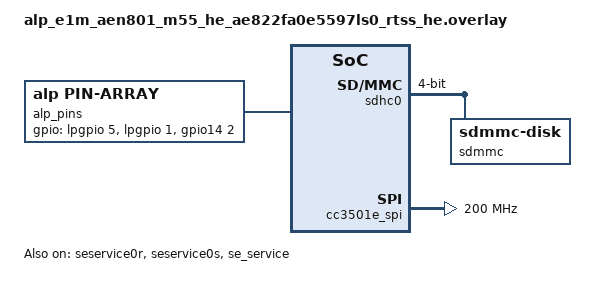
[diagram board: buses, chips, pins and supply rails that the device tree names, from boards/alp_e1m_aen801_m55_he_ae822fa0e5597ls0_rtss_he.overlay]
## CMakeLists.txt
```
# SPDX-License-Identifier: Apache-2.0
cmake_minimum_required(VERSION 3.20)
find_package(Zephyr REQUIRED HINTS $ENV{ZEPHYR_BASE})
project(aen_sdcard_readout LANGUAGES C)
target_sources(app PRIVATE src/main.c)
# The CC3501E bridge bring-up + the SDIO mux ENABLE it drives: on the EVK the
# microSD sits behind a 74LVC157 mux whose /E is CC3501E-side, so the card is
# electrically disconnected unless this app brings the bridge up itself.
# cc3501e_bridge.{c,h} is the SoM bring-up TEMPLATE every AEN application
# copies verbatim (see its header) -- byte-identical to the copy in
# examples/aen/aen-evk-demo, the silicon-proven origin of this one; copied
# rather than reached across into, because an example that reads its sources
# out of a sibling example is not a copyable template.
target_sources(app PRIVATE src/cc3501e_bridge.c)
# The one proxied pad this app drives: E1M IO20 -> raw CC3501E GPIO_26, the
# SDIO mux ENABLE route. Strong override of the WEAK cc3501e_gpio_routes[] in
# src/backends/gpio/cc3501e_proxy_routes_weak.c. Built unconditionally; only
# consulted when CONFIG_ALP_SDK_GPIO_CC3501E_PROXY is set (prj.conf).
target_sources(app PRIVATE src/cc3501e_gpio_routes.c)
```

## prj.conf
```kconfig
# SPDX-License-Identifier: Apache-2.0
#
# Bench RAM-run config for the E1M-AEN801 (M55-HE).

CONFIG_ALP_SDK=y

# SD Host Controller + the vendored DWC SDHC driver (CONFIG_SDHC_DWC is default y
# once the sdhc node is enabled) + the SDMMC card stack + the disk-access API.
CONFIG_SDHC=y
CONFIG_DISK_ACCESS=y
CONFIG_DISK_DRIVER_SDMMC=y
CONFIG_SDMMC_STACK=y
CONFIG_GPIO=y

# --- CC3501E Wi-Fi/BLE coprocessor bridge --------------------------------
# The EVK microSD sits behind a 74LVC157 mux whose ENABLE (E1M IO20) is
# CC3501E-side, so the card is electrically disconnected until this app
# brings the inter-chip bridge up and drives the mux -- see main()'s
# comment. Host-side bridge driver (chips/cc3501e/*.c) plus the two
# peripheral classes it rides on: SPI for the inter-chip link (bus 1 ->
# the alp-spi1 alias the board overlay adds) and GPIO for WIFI_EN /
# nRESET / READY. Kconfig already enforces `depends on SPI && GPIO`; both
# are set explicitly here because this app has no board.yaml
# `peripherals:` block to generate them -- it is a standalone Zephyr app
# (see CMakeLists.txt), mirroring examples/aen/aen-evk-demo's prj.conf.
CONFIG_SPI=y
CONFIG_ALP_SDK_CHIP_CC3501E=y

# The mux ENABLE (E1M IO20) reaches CC3501E GPIO_26, so it is only
# drivable over the bridge's GPIO proxy -- without this, alp_gpio_open()
# on IO20 would silently DELEGATE to the Alif's own GPIO driver and drive
# a pad that is not connected to the mux: no error, and a card that never
# enumerates. src/cc3501e_gpio_routes.c carries the one-pad route table
# this needs.
CONFIG_ALP_SDK_GPIO_CC3501E_PROXY=y

CONFIG_MAIN_STACK_SIZE=4096
CONFIG_HEAP_MEM_POOL_SIZE=16384

# FIFO/descriptor data path -- keep coherent on this M55 bench.
CONFIG_DCACHE=n

# Console: Alp UART console -- E1M edge UART0 (Alif UART5, P3_4/P3_5, 115200
# 8N1, NS16550), the E1M-AEN801 carrier console. The board _defconfig already
# selects it; we set it explicitly here so the example is self-describing.
CONFIG_SERIAL=y
CONFIG_CONSOLE=y
CONFIG_UART_CONSOLE=y
CONFIG_UART_INTERRUPT_DRIVEN=y
# Serial-less bench? Comment the four lines above and uncomment these to read
# 'ram_console_buf' over SWD instead:
# CONFIG_RAM_CONSOLE=y
# CONFIG_RAM_CONSOLE_BUFFER_SIZE=2048
# CONFIG_UART_CONSOLE=n
CONFIG_PRINTK=y
```

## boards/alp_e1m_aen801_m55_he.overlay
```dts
/*
 * Copyright (c) 2026 Alp Lab AB
 * SPDX-License-Identifier: Apache-2.0
 *
 * SD Host Controller overlay for the E1M-AEN801 (E8, M55-HE).
 *
 * sdhc@48102000 (compatible snps,dwc-sdhc, IRQ 102/103) is transcribed from the
 * Apache-2.0 zephyr_alif fork -- the alp-sdk E8 SoC dtsi doesn't carry it, so it
 * is created here.  Driver: zephyr/drivers/sdhc/sdhc_dwc.c (vendored Tier-2,
 * CONFIG_SDHC_DWC) + the Zephyr SDMMC disk (zephyr,sdmmc-disk).
 *
 * PADS -- TBD, see [[project_pending_hw_configs]]: this overlay wires the SD "D"
 * pad route (CLK=P4_1, CMD=P4_2, D0..D3=P6_0..P6_3) from the upstream
 * alif-ensemble-pinctrl.h as a documented default; confirm the E1M-AEN801 SoM/EVK
 * SD routing against the schematic.  The bidirectional CMD + D0..D3 lines set the
 * pad read-enable (REN) -- the alif,pinctrl binding DOES carry `read-enable`, so
 * the SoC can sample the card's CMD/DATA response lines (CLK is output-only and
 * omits it).
 *
 * CARD REACHABILITY -- the EVK microSD is behind a 74LVC157 SDIO mux whose
 * EN (IO20) + SEL (IO21) are BOTH on the CC3501E side (driven over the SPI
 * bridge), so no card is reachable until that bridge routes the mux.  cd-gpios is
 * omitted (the driver falls back to controller card-detect).
 */
#include <zephyr/dt-bindings/pinctrl/alif-ensemble-pinctrl.h>

/ {
	chosen {
		zephyr,flash = &itcm; /* bench RAM/SES-load; path-ref form */
		/delete-property/ zephyr,code-partition;
	};
};

&pinctrl {
	pinctrl_sdmmc: pinctrl_sdmmc {
		/* CLK is push-pull output only -- no pad read-enable needed. */
		group0 {
			pinmux = <PIN_P4_1__SD_CLK_D>;
			drive-strength = <8>;
		};
		/* CMD + D0..D3 are bidirectional: the pad receiver (read-enable /
		 * REN bit) MUST be on so the SoC can sample the card's CMD/DATA
		 * response lines, otherwise enumeration can never complete. */
		group1 {
			pinmux = <PIN_P4_2__SD_CMD_D>,
				 <PIN_P6_0__SD_D0_D>, <PIN_P6_1__SD_D1_D>,
				 <PIN_P6_2__SD_D2_D>, <PIN_P6_3__SD_D3_D>;
			drive-strength = <8>;
			read-enable = <1>;
		};
	};
};

&{/soc} {
	sdhc0: sdhc@48102000 {
		compatible = "snps,dwc-sdhc";
		reg = <0x48102000 0xF70>;
		interrupts = <102 3>, <103 3>;
		interrupt-names = "sdmmc", "sdmmc_wakeup";
		max-bus-freq = <50000000>;
		min-bus-freq = <400000>;
		power-delay-ms = <500>;
		bus-width = <4>;
		pinctrl-0 = <&pinctrl_sdmmc>;
		pinctrl-names = "default";
		status = "okay";

		sdmmc {
			compatible = "zephyr,sdmmc-disk";
			disk-name = "SD";
			status = "okay";
		};
	};
};
```

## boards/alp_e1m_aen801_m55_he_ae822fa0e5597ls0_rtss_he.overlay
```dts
/*
 * Copyright (c) 2026 Alp Lab AB
 * SPDX-License-Identifier: Apache-2.0
 *
 * SD Host Controller overlay for the E1M-AEN801 (E8, M55-HE).
 *
 * sdhc@48102000 (compatible snps,dwc-sdhc, IRQ 102/103) is transcribed from the
 * Apache-2.0 zephyr_alif fork -- the alp-sdk E8 SoC dtsi doesn't carry it, so it
 * is created here.  Driver: zephyr/drivers/sdhc/sdhc_dwc.c (vendored Tier-2,
 * CONFIG_SDHC_DWC) + the Zephyr SDMMC disk (zephyr,sdmmc-disk).
 *
 * PADS -- this overlay wires the SD "B" pad route (CLK=P14_1, CMD=P14_0,
 * D0..D3=P13_0..P13_3), matching how the E1M-AEN module is actually wired.
 * A previous revision wired the "D" route (CLK=P4_1, CMD=P4_2, D0..D3=P6_0..P6_3)
 * copied from the upstream alif-ensemble-pinctrl.h as a placeholder default that
 * was never confirmed against the schematic, as this file's own comment used to
 * admit. It was wrong on every count: P4_2 is not an SD pin at all -- it is
 * QEC3_Y_A, a rotary encoder input on the EVK, with no SD pull-up -- and D0..D3
 * on P6_0..P6_3 land on the module's PDM_D0/PDM_C0 pads and on-module
 * OSPI0_D2/OSPI0_D3 (metadata/e1m_modules/aen/alif-ospi.tsv:4-5), which the
 * resident BL32 owns; driving SD there risked bus contention with boot flash.
 * The B route is corroborated by five independent metadata sources
 * (metadata/pinmux/aen.yaml:49-64, metadata/e1m_modules/aen/from-alif.tsv:36-48
 * -- the vendor's own mapping, metadata/e1m_modules/aen/inter-chip.tsv:41-46,
 * docs/cc3501e-bridge.md:74) plus the EVK netlist, which closes the chain at
 * U39 pin 12 carrying E1M_CMD to E2 AH11.  P14_0, P14_1 and P13_0..P13_3 also
 * run through unpopulated zero-ohm links to the CC3501E SDIO
 * (docs/cc3501e-bridge.md:71-75), with no conflict observed on any board built
 * to date.  CMD, D0..D3 AND CLK all enable the pad input buffer via the
 * pincfg-node.yaml boolean `input-enable` property (the pinned Zephyr v4.4
 * alif,pinctrl binding's property-allowlist carries `input-enable`, not
 * `read-enable` -- an earlier revision of this overlay used the wrong spelling
 * and failed devicetree validation).  CLK is push-pull output from the SoC's
 * own perspective, but this controller's receive path is NOT: the DWC_mshc
 * command/data state machines run on a card clock looped back FROM THE PAD,
 * not from the internal output before it reaches the pin, so leaving CLK's
 * input buffer off silently kills that loopback -- the command circuit never
 * reaches idle even though CMD/DATA read correctly (those are async pad
 * inputs and stay live either way). This reproduces exactly: `SW_RST_ALL`
 * completes, `INTERNAL_CLK_STABLE` asserts, `PSTATE` shows correct CMD/DAT
 * levels, but `SW_RST_CMD` never self-clears while `SW_RST_DAT` does, because
 * DAT's circuit was already idle and CMD's never started. Both Alif's DFP
 * (`demo_sd.c`, `demo_sdio.c`, `demo_sd_fatfs.c`,
 * `demo_mci_mdk_cmsisrtos2.c` -- all four SD examples set
 * `PADCTRL_READ_ENABLE` on the CLK pad) and the vendor Linux dts (pad config
 * `0x23` on SD CLK -- read-enable, Schmitt, 8 mA, the SAME byte as CMD/DATA)
 * agree. Do NOT remove this again on the "CLK is output-only" reasoning that
 * used to live here -- it describes the SoC pin, not this controller's clock
 * receive path, and removing it reproduces the earlier bug where a rotary
 * encoder pad also read wrong until PADCTRL_READ_ENABLE was set.
 *
 * CARD REACHABILITY -- the EVK microSD is behind a 74LVC157/74LV3257 SDIO
 * mux whose EN (IO20) is CC3501E-side (driven over the SPI bridge) on both
 * hardware revisions, so no card is reachable until that bridge drives EN.
 * SEL (IO21) is revision-dependent, not always CC3501E-side: on r1 it is
 * also CC3501E-proxied; on r2 it is unrouted and hardware-strapped instead
 * (metadata/e1m_modules/aen/hw-revisions.yaml).  cd-gpios is omitted (the
 * driver falls back to controller card-detect).
 *
 * SD_RST (#2035) -- P14_2 (SD_RST_B's pad) is muxed here as plain GPIO, not
 * as its SD_RST_B alternate function, and driven by main() as a bit-banged
 * reset pulse before disk_access_init() -- see the `pinctrl_sdmmc` group2
 * comment below for the three independent vendor sources that all bit-bang
 * this line rather than trust it to the controller. Until this revision the
 * line was never driven at all, which may have been holding the card in
 * reset; a card that still does not enumerate after the pulse means the
 * `SW_RST_CMD` question described above is a separate, still-open fault, not
 * this one.
 */
#include <zephyr/dt-bindings/pinctrl/alif-ensemble-pinctrl.h>

/ {
	chosen {
		zephyr,flash = &itcm; /* bench RAM/SES-load; path-ref form */
		/delete-property/ zephyr,code-partition;
	};
};

&pinctrl {
	pinctrl_sdmmc: pinctrl_sdmmc {
		/* CLK needs the pad input buffer too, despite being a push-pull
		 * SoC output: the DWC_mshc controller's command/data state
		 * machines clock off CLK LOOPED BACK FROM THE PAD, not off the
		 * pre-pad internal signal. See the file header for the full
		 * derivation and the vendor citations -- do not drop this again. */
		group0 {
			pinmux = <PIN_P14_1__SD_CLK_B>;
			drive-strength = <8>;
			input-enable;
		};
		/* CMD + D0..D3 are bidirectional: the pad input buffer
		 * (input-enable) MUST be on so the SoC can sample the card's
		 * CMD/DATA response lines, otherwise enumeration can never
		 * complete. */
		group1 {
			pinmux = <PIN_P14_0__SD_CMD_B>,
				 <PIN_P13_0__SD_D0_B>, <PIN_P13_1__SD_D1_B>,
				 <PIN_P13_2__SD_D2_B>, <PIN_P13_3__SD_D3_B>;
			drive-strength = <8>;
			input-enable;
		};
		/*
		 * P14_2 -- SD_RST, muxed as plain GPIO (function 0), NOT as the
		 * SD_RST_B alternate function (function 5) the SoC also offers on
		 * this pad. Three independent vendor sources bit-bang this line as
		 * a GPIO rather than trusting it to the controller's own alt
		 * function, and this overlay follows them rather than the
		 * alternate-function route:
		 *   - vendor Linux `arch/arm/mach-ensemble/sdhci-alif-reset.c`
		 *     (an `arch_initcall` that runs BEFORE the SDHCI driver
		 *     probes: drives its reset GPIO low, sleeps 1-2 ms, drives it
		 *     high, sleeps 2-3 ms) plus its binding
		 *     `Documentation/devicetree/bindings/mmc/
		 *     alif,sdhci-alif-reset.yaml`, which lists `reset-gpios` under
		 *     `required:`;
		 *   - Alif's own baremetal DFP: `sd_host_init()`
		 *     (`drivers/source/sd.c`) calls `sd_param.reset_cb` as the
		 *     FIRST action, and the demo's callback
		 *     (`Boards/Templates/Baremetal/demo_sd.c`) drives the pin low,
		 *     busy-waits, then drives it high.
		 * Muxing to SD_RST_B (AF5) instead would hand the pin to the SDHC
		 * controller, which is free to hold it however it likes -- neither
		 * vendor does that. main() opens this as
		 * `alp_gpio_open()`/configure/write, matching the pattern.
		 */
		group2 {
			pinmux = <PIN_P14_2__GPIO>;
		};
	};
};

&gpio14 {
	/* Owns P14_2 (SD_RST), among others. Disabled by default in the base
	 * dtsi like every other unused GPIO bank on this SoC. */
	status = "okay";
};

/*
 * SE SERVICE transport (#2035) -- the RTSS-HE <-> SE MHUv2 mailbox pair
 * (seservice0r/seservice0s) plus the se_service root node that ties them,
 * all status="disabled" by default in the SoC dtsi (zephyr/dts/alif/
 * ensemble_e8_peripherals.dtsi). main() asks the SE to enable the SD
 * controller's 100 MHz clock source (CGU CLK_ENA bit 7) before touching the
 * controller -- see sd_se_enable_clock() in src/main.c -- which needs this
 * transport up. Same three-node enable examples/aen/aen-se-service-info's
 * overlay uses; itcm/dtcm global_base (for se_service.c's own
 * local_to_global() on the request packet) is already set in the board
 * dts, so nothing extra is needed here.
 */
&seservice0r {
	status = "okay";
};

&seservice0s {
	status = "okay";
};

&se_service {
	status = "okay";
};

&{/soc} {
	sdhc0: sdhc@48102000 {
		compatible = "snps,dwc-sdhc";
		reg = <0x48102000 0xF70>;
		interrupts = <102 3>, <103 3>;
		interrupt-names = "sdmmc", "sdmmc_wakeup";
		/* 25 MHz, not the controller's 50 MHz capability, and no 1.8V UHS
		 * signaling (#2035): once CMD0 succeeds the SD subsystem would
		 * otherwise attempt CMD11 and switch to 1.8V I/O signaling through
		 * the 74LVC157 SDIO mux, which runs at 3.3V and was never designed
		 * to pass a 1.8V logic level -- vendor Linux sets the equivalent
		 * `no-1-8-v` + `max-frequency = <25000000>` for this exact block.
		 * `no-1-8-v` IS read by this driver (DT_INST_PROP_OR(n, no_1_8_v,
		 * ...) -> props->host_caps.vol_180_support = 0, sdhc_dwc.c:972),
		 * so this is a real behavioural change, not a documentation-only
		 * one. `max-bus-freq` is this Zephyr binding's equivalent of
		 * vendor Linux's `max-frequency` (there is no `max-frequency`
		 * property on snps,dwc-sdhc.yaml). Vendor Linux also sets
		 * `no-hispeed`; THIS DRIVER HAS NO EQUIVALENT DT PROPERTY --
		 * checked zephyr/drivers/sdhc/sdhc_dwc.c: high_spd_support is
		 * read straight off DWC_SDHC_CAP1_HIGH_SPEED_Msk in hardware with
		 * no DT override, so that one setting is recorded here, not
		 * applied. */
		max-bus-freq = <25000000>;
		min-bus-freq = <400000>;
		power-delay-ms = <500>;
		bus-width = <4>;
		no-1-8-v;
		pinctrl-0 = <&pinctrl_sdmmc>;
		pinctrl-names = "default";
		status = "okay";

		sdmmc {
			compatible = "zephyr,sdmmc-disk";
			disk-name = "SD";
			status = "okay";
		};
	};
};

/*
 * ============================================================================
 * The SoM-internal Alif <-> CC3501E Wi-Fi/BLE bridge -- needed to REACH the
 * card, not to read it
 * ============================================================================
 *
 * The SD pads above are necessary but not sufficient: the microSD sits behind
 * a 74LVC157 mux whose ENABLE is driven from the CC3501E side (E1M IO20 ->
 * CC3501E GPIO_26), so without this block main() would be probing a
 * controller with the card electrically disconnected. Transcribed verbatim
 * from examples/aen/aen-evk-demo's overlay (its phase 8), the silicon-proven
 * host-side bring-up; read that file for the full derivation behind every
 * value here.
 *
 * Everything below is a SoM-INTERNAL fact (metadata/e1m_modules/aen/
 * inter-chip.tsv), not an E1M edge pad, which is why it lives in an app
 * overlay rather than in the board tree -- the board layer publishes only the
 * customer-facing edge peripherals.
 *
 *     net          Alif pad       dir   CC3501E pad
 *     ----------   ------------   ---   ---------------------
 *     WIFI_EN      P15_5          out   (supply gate)
 *     E_WIFI.NRST  P15_1_FLEX     out   (reset)
 *     SPI1.SCK     P14_6          out   GPIO_27 (CC35 SPI0 slave)
 *     SPI1.MOSI    P14_5          out   GPIO_28
 *     SPI1.MISO    P14_4          in    GPIO_29
 *     SPI1.SS0     P14_7          out   CC35 SPI0 CSN
 *
 * NOT wired: READY.  Alif P2_6 (E1M pad AH7 / I2S1_SCLK) is the EVK's Arduino
 * CK_RST net on this R2 module, not CC35 GPIO_17 -- see the P2_6 comment
 * further down and chips/cc3501e/cc3501e_core.c's cc3501e_reply_gate().
 *
 * WHAT THIS OVERLAY DELIBERATELY OMITS versus aen-cc3501e-bringup's: the
 * host-side peripheral-DMA wiring (dma0 / evtrtr0 / the `dmas` property, and
 * the itcm/dtcm `global_base` windows the PL330 needs to reach TCM buffers).
 * This app issues only short control frames -- PING, GET_VERSION, GET_MAC,
 * GET_CAPABILITIES, one scan, BLE_ENABLE, then the mux GPIO write -- every one
 * of them far below CONFIG_SPI_DW_ALIF_DMA_MIN_LEN, so the DMA path would
 * never be taken even if it were wired. The `dmas` cells are optional to the
 * driver (spi_dw_alif.c gates them behind DT_INST_DMAS_HAS_NAME), so omitting
 * them costs nothing here.
 */
#include <zephyr/dt-bindings/gpio/gpio.h>

&pinctrl {
	/*
	 * SPI1 master on P14_6 (SCK) / P14_5 (MOSI) / P14_4 (MISO), plus the
	 * hardware SS0 chip-select on P14_7. SS0 is the dwc-ssi peripheral's OWN
	 * select -- not a GPIO bodge, not CS-less, not static-low: the master
	 * asserts and deasserts it per transfer, and that is exactly what frames
	 * each phase of the bridge's request/reply exchange. Do NOT add cs-gpios
	 * here; that installs a software CS and breaks the framing the firmware
	 * side is built around.
	 *
	 * input-enable on MISO because on this SoC a pad's INPUT BUFFER is a
	 * PADCTRL bit that only pinctrl sets -- without it the pad never senses
	 * what the slave drives.
	 */
	pinctrl_spi1: pinctrl_spi1 {
		group0 {
			pinmux = <PIN_P14_6__SPI1_SCLK_C>, <PIN_P14_5__SPI1_MOSI_C>,
				 <PIN_P14_7__SPI1_SS0_C>;
		};
		group1 {
			pinmux = <PIN_P14_4__SPI1_MISO_C>;
			input-enable;
		};

	};
};

/* P2_6 (E1M AH7 / I2S1_SCLK) is NOT the CC3501E READY net on the R2 module this
 * bridge targets -- it is E1M pad AH7 / I2S1_SCLK, which the E1M EVK
 * carrier repurposes as the Arduino header's CK_RST (metadata/boards/
 * e1m-evk.yaml); the real READY net lands on E1M pad G3 / IO16 instead
 * (metadata/e1m_modules/aen/from-cc3501e.tsv). This app therefore does not
 * mux or input-enable P2_6, and does not wire fw->ready_pin -- see
 * src/cc3501e_bridge.c and chips/cc3501e/cc3501e_core.c's cc3501e_reply_gate()
 * comment. A board (or a hand-reworked r1 unit) that genuinely wires GPIO17
 * to P2_6 can opt back in: add a pinctrl group muxing PIN_P2_6__GPIO with
 * input-enable (applied inside this state's single init pass, not a
 * standalone runtime one -- a second pinctrl pass after SPI1 is up killed
 * the bridge on silicon), enable &gpio2, add an alp_pins entry for it, and
 * set fw->ready_pin in cc3501e_bridge_bringup(). */

/*
 * DWC_ssi SPI1 (AHB) -- the on-SoM CC3501E inter-chip link. Deliberately not
 * in ensemble_e8_peripherals.dtsi (which declares only the customer-facing
 * edge SPI0), so the consuming app declares it. reg 0x48104000 = the SPI1 base
 * (+0x1000 per instance from spi0's 0x48103000).
 *
 * BENCH-TBD on interrupts: <138 3> follows the consecutive pattern from spi0's
 * IRQ 137 -- it is INFERRED, not read out of a document. "Confirm" therefore
 * means: check SPI1_IRQ against the AE822 TRM (or the alifsemi/zephyr_alif
 * fork's e1.dtsi) before relying on the interrupt-driven path on silicon.
 *
 * clock-frequency is REQUIRED, not decorative: without it spi_dw_alif's
 * configure takes the clock-control path, which fails -EINVAL for the gateless
 * dummy ALIF_SPI_CLK, and every transceive then returns ALP_ERR_INVAL at zero
 * SCLK. 200 MHz is the real SSI functional clock (E8 HWRM); BAUDR =
 * clock-frequency / freq_hz, and cc3501e_bridge.h asks for 25 MHz = /8.
 *
 * rx-delay: NOT what clocks the link -- src/cc3501e_bridge.c pokes
 * 0x48104000+0xf0 with CC3501E_BRIDGE_RX_SAMPLE_DLY right after
 * alp_spi_open() returns, which overwrites whatever this property set. See
 * cc3501e_bridge.h and examples/aen/aen-evk-demo's overlay for the full
 * derivation (silicon-measured on E1M-AEN803 serial 2026W36-0002 at 25 MHz).
 */
&clockctrl {
	status = "okay";
};

&soc {
	cc3501e_spi: spi@48104000 {
		compatible = "alif,dwc-ssi-spi";
		#address-cells = <1>;
		#size-cells = <0>;
		reg = <0x48104000 0x1000>;
		interrupts = <138 3>;          /* BENCH-TBD: confirm SPI1 IRQ */
		clocks = <&clockctrl ALIF_SPI_CLK>;
		clock-frequency = <200000000>;
		dwc-ssi;
		fifo-depth = <16>;
		rx-delay = <2>;
		pinctrl-0 = <&pinctrl_spi1>;
		pinctrl-names = "default";
		status = "okay";
	};
};

/*
 * The LP-GPIO island carries WIFI_EN (P15_5) and E_WIFI.NRST (P15_1_FLEX). No
 * pinctrl group is needed for their mux: P15_x function 0 -- the reset default
 * -- already IS LPGPIO. Turning the pads' OUTPUT DRIVERS on is a separate
 * matter and not a devicetree fact at all; see the raw PADCTRL write in
 * src/cc3501e_bridge.c and the comment above it.
 */
&lpgpio {
	status = "okay";
};

/ {
	aliases {
		/* bus_id 1 in alp_spi_open() -> this controller. */
		alp-spi1 = &cc3501e_spi;
	};

	/*
	 * Compact 3-entry control array: the 2 SoM-internal CC3501E control
	 * nets, in the order cc3501e_bridge.h's CC3501E_BRIDGE_PIN_* indices
	 * expect, plus SD_RST (index [2], native Alif GPIO -- see SD_RST_PIN_ID
	 * in src/main.c). No READY entry -- see the P2_6 comment further up
	 * (this pad is not the CC3501E READY net). None of these are E1M edge
	 * pads, so this app does not use the 52-slot positional E1M map; a
	 * production board file appends SoM-internal control nets after the E1M
	 * pad slots.
	 *
	 * There must be exactly ONE "alp,pin-array" node in the tree. A second
	 * one broke pin resolution outright on the bench (2026-08-26): the
	 * bridge failed as if WIFI_EN were absent, which reads like a hardware
	 * fault and is not one.
	 */
	alp_pins: alp-pins {
		compatible = "alp,pin-array";
		gpios = <&lpgpio 5 GPIO_ACTIVE_HIGH>, /* [0] WIFI_EN     (P15_5)      */
			<&lpgpio 1 GPIO_ACTIVE_HIGH>, /* [1] E_WIFI.NRST (P15_1_FLEX) */
			<&gpio14 2 GPIO_ACTIVE_HIGH>; /* [2] SD_RST      (P14_2, native Alif GPIO, bit-banged) */
	};
};
```

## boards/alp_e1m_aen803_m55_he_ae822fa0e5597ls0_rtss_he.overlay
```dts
/*
 * Copyright (c) 2026 Alp Lab AB
 * SPDX-License-Identifier: Apache-2.0
 *
 * SD Host Controller overlay for the E1M-AEN803 (E8, M55-HE).
 *
 * sdhc@48102000 (compatible snps,dwc-sdhc, IRQ 102/103) is transcribed from the
 * Apache-2.0 zephyr_alif fork -- the alp-sdk E8 SoC dtsi doesn't carry it, so it
 * is created here.  Driver: zephyr/drivers/sdhc/sdhc_dwc.c (vendored Tier-2,
 * CONFIG_SDHC_DWC) + the Zephyr SDMMC disk (zephyr,sdmmc-disk).
 *
 * PADS -- this overlay wires the SD "B" pad route (CLK=P14_1, CMD=P14_0,
 * D0..D3=P13_0..P13_3), matching how the E1M-AEN module is actually wired.
 * A previous revision wired the "D" route (CLK=P4_1, CMD=P4_2, D0..D3=P6_0..P6_3)
 * copied from the upstream alif-ensemble-pinctrl.h as a placeholder default that
 * was never confirmed against the schematic, as this file's own comment used to
 * admit. It was wrong on every count: P4_2 is not an SD pin at all -- it is
 * QEC3_Y_A, a rotary encoder input on the EVK, with no SD pull-up -- and D0..D3
 * on P6_0..P6_3 land on the module's PDM_D0/PDM_C0 pads and on-module
 * OSPI0_D2/OSPI0_D3 (metadata/e1m_modules/aen/alif-ospi.tsv:4-5), which the
 * resident BL32 owns; driving SD there risked bus contention with boot flash.
 * The B route is corroborated by five independent metadata sources
 * (metadata/pinmux/aen.yaml:49-64, metadata/e1m_modules/aen/from-alif.tsv:36-48
 * -- the vendor's own mapping, metadata/e1m_modules/aen/inter-chip.tsv:41-46,
 * docs/cc3501e-bridge.md:74) plus the EVK netlist, which closes the chain at
 * U39 pin 12 carrying E1M_CMD to E2 AH11.  P14_0, P14_1 and P13_0..P13_3 also
 * run through unpopulated zero-ohm links to the CC3501E SDIO
 * (docs/cc3501e-bridge.md:71-75), with no conflict observed on any board built
 * to date.  CMD, D0..D3 AND CLK all enable the pad input buffer via the
 * pincfg-node.yaml boolean `input-enable` property (the pinned Zephyr v4.4
 * alif,pinctrl binding's property-allowlist carries `input-enable`, not
 * `read-enable` -- an earlier revision of this overlay used the wrong spelling
 * and failed devicetree validation).  CLK is push-pull output from the SoC's
 * own perspective, but this controller's receive path is NOT: the DWC_mshc
 * command/data state machines run on a card clock looped back FROM THE PAD,
 * not from the internal output before it reaches the pin, so leaving CLK's
 * input buffer off silently kills that loopback -- the command circuit never
 * reaches idle even though CMD/DATA read correctly (those are async pad
 * inputs and stay live either way). This reproduces exactly: `SW_RST_ALL`
 * completes, `INTERNAL_CLK_STABLE` asserts, `PSTATE` shows correct CMD/DAT
 * levels, but `SW_RST_CMD` never self-clears while `SW_RST_DAT` does, because
 * DAT's circuit was already idle and CMD's never started. Both Alif's DFP
 * (`demo_sd.c`, `demo_sdio.c`, `demo_sd_fatfs.c`,
 * `demo_mci_mdk_cmsisrtos2.c` -- all four SD examples set
 * `PADCTRL_READ_ENABLE` on the CLK pad) and the vendor Linux dts (pad config
 * `0x23` on SD CLK -- read-enable, Schmitt, 8 mA, the SAME byte as CMD/DATA)
 * agree. Do NOT remove this again on the "CLK is output-only" reasoning that
 * used to live here -- it describes the SoC pin, not this controller's clock
 * receive path, and removing it reproduces the earlier bug where a rotary
 * encoder pad also read wrong until PADCTRL_READ_ENABLE was set.
 *
 * CARD REACHABILITY -- the EVK microSD is behind a 74LVC157/74LV3257 SDIO
 * mux whose EN (IO20) is CC3501E-side (driven over the SPI bridge) on both
 * hardware revisions, so no card is reachable until that bridge drives EN.
 * SEL (IO21) is revision-dependent, not always CC3501E-side: on r1 it is
 * also CC3501E-proxied; on r2 it is unrouted and hardware-strapped instead
 * (metadata/e1m_modules/aen/hw-revisions.yaml).  cd-gpios is omitted (the
 * driver falls back to controller card-detect).
 *
 * SD_RST (#2035) -- P14_2 (SD_RST_B's pad) is muxed here as plain GPIO, not
 * as its SD_RST_B alternate function, and driven by main() as a bit-banged
 * reset pulse before disk_access_init() -- see the `pinctrl_sdmmc` group2
 * comment below for the three independent vendor sources that all bit-bang
 * this line rather than trust it to the controller. Until this revision the
 * line was never driven at all, which may have been holding the card in
 * reset; a card that still does not enumerate after the pulse means the
 * `SW_RST_CMD` question described above is a separate, still-open fault, not
 * this one.
 */
#include <zephyr/dt-bindings/pinctrl/alif-ensemble-pinctrl.h>

/ {
	chosen {
		zephyr,flash = &itcm; /* bench RAM/SES-load; path-ref form */
		/delete-property/ zephyr,code-partition;
	};
};

&pinctrl {
	pinctrl_sdmmc: pinctrl_sdmmc {
		/* CLK needs the pad input buffer too, despite being a push-pull
		 * SoC output: the DWC_mshc controller's command/data state
		 * machines clock off CLK LOOPED BACK FROM THE PAD, not off the
		 * pre-pad internal signal. See the file header for the full
		 * derivation and the vendor citations -- do not drop this again. */
		group0 {
			pinmux = <PIN_P14_1__SD_CLK_B>;
			drive-strength = <8>;
			input-enable;
		};
		/* CMD + D0..D3 are bidirectional: the pad input buffer
		 * (input-enable) MUST be on so the SoC can sample the card's
		 * CMD/DATA response lines, otherwise enumeration can never
		 * complete. */
		group1 {
			pinmux = <PIN_P14_0__SD_CMD_B>,
				 <PIN_P13_0__SD_D0_B>, <PIN_P13_1__SD_D1_B>,
				 <PIN_P13_2__SD_D2_B>, <PIN_P13_3__SD_D3_B>;
			drive-strength = <8>;
			input-enable;
		};
		/*
		 * P14_2 -- SD_RST, muxed as plain GPIO (function 0), NOT as the
		 * SD_RST_B alternate function (function 5) the SoC also offers on
		 * this pad. Three independent vendor sources bit-bang this line as
		 * a GPIO rather than trusting it to the controller's own alt
		 * function, and this overlay follows them rather than the
		 * alternate-function route:
		 *   - vendor Linux `arch/arm/mach-ensemble/sdhci-alif-reset.c`
		 *     (an `arch_initcall` that runs BEFORE the SDHCI driver
		 *     probes: drives its reset GPIO low, sleeps 1-2 ms, drives it
		 *     high, sleeps 2-3 ms) plus its binding
		 *     `Documentation/devicetree/bindings/mmc/
		 *     alif,sdhci-alif-reset.yaml`, which lists `reset-gpios` under
		 *     `required:`;
		 *   - Alif's own baremetal DFP: `sd_host_init()`
		 *     (`drivers/source/sd.c`) calls `sd_param.reset_cb` as the
		 *     FIRST action, and the demo's callback
		 *     (`Boards/Templates/Baremetal/demo_sd.c`) drives the pin low,
		 *     busy-waits, then drives it high.
		 * Muxing to SD_RST_B (AF5) instead would hand the pin to the SDHC
		 * controller, which is free to hold it however it likes -- neither
		 * vendor does that. main() opens this as
		 * `alp_gpio_open()`/configure/write, matching the pattern.
		 */
		group2 {
			pinmux = <PIN_P14_2__GPIO>;
		};
	};
};

&gpio14 {
	/* Owns P14_2 (SD_RST), among others. Disabled by default in the base
	 * dtsi like every other unused GPIO bank on this SoC. */
	status = "okay";
};

/*
 * SE SERVICE transport (#2035) -- the RTSS-HE <-> SE MHUv2 mailbox pair
 * (seservice0r/seservice0s) plus the se_service root node that ties them,
 * all status="disabled" by default in the SoC dtsi (zephyr/dts/alif/
 * ensemble_e8_peripherals.dtsi). main() asks the SE to enable the SD
 * controller's 100 MHz clock source (CGU CLK_ENA bit 7) before touching the
 * controller -- see sd_se_enable_clock() in src/main.c -- which needs this
 * transport up. Same three-node enable examples/aen/aen-se-service-info's
 * overlay uses; itcm/dtcm global_base (for se_service.c's own
 * local_to_global() on the request packet) is already set in the board
 * dts, so nothing extra is needed here.
 */
&seservice0r {
	status = "okay";
};

&seservice0s {
	status = "okay";
};

&se_service {
	status = "okay";
};

&{/soc} {
	sdhc0: sdhc@48102000 {
		compatible = "snps,dwc-sdhc";
		reg = <0x48102000 0xF70>;
		interrupts = <102 3>, <103 3>;
		interrupt-names = "sdmmc", "sdmmc_wakeup";
		/* 25 MHz, not the controller's 50 MHz capability, and no 1.8V UHS
		 * signaling (#2035): once CMD0 succeeds the SD subsystem would
		 * otherwise attempt CMD11 and switch to 1.8V I/O signaling through
		 * the 74LVC157 SDIO mux, which runs at 3.3V and was never designed
		 * to pass a 1.8V logic level -- vendor Linux sets the equivalent
		 * `no-1-8-v` + `max-frequency = <25000000>` for this exact block.
		 * `no-1-8-v` IS read by this driver (DT_INST_PROP_OR(n, no_1_8_v,
		 * ...) -> props->host_caps.vol_180_support = 0, sdhc_dwc.c:972),
		 * so this is a real behavioural change, not a documentation-only
		 * one. `max-bus-freq` is this Zephyr binding's equivalent of
		 * vendor Linux's `max-frequency` (there is no `max-frequency`
		 * property on snps,dwc-sdhc.yaml). Vendor Linux also sets
		 * `no-hispeed`; THIS DRIVER HAS NO EQUIVALENT DT PROPERTY --
		 * checked zephyr/drivers/sdhc/sdhc_dwc.c: high_spd_support is
		 * read straight off DWC_SDHC_CAP1_HIGH_SPEED_Msk in hardware with
		 * no DT override, so that one setting is recorded here, not
		 * applied. */
		max-bus-freq = <25000000>;
		min-bus-freq = <400000>;
		power-delay-ms = <500>;
		bus-width = <4>;
		no-1-8-v;
		pinctrl-0 = <&pinctrl_sdmmc>;
		pinctrl-names = "default";
		status = "okay";

		sdmmc {
			compatible = "zephyr,sdmmc-disk";
			disk-name = "SD";
			status = "okay";
		};
	};
};

/*
 * ============================================================================
 * The SoM-internal Alif <-> CC3501E Wi-Fi/BLE bridge -- needed to REACH the
 * card, not to read it
 * ============================================================================
 *
 * The SD pads above are necessary but not sufficient: the microSD sits behind
 * a 74LVC157 mux whose ENABLE is driven from the CC3501E side (E1M IO20 ->
 * CC3501E GPIO_26), so without this block main() would be probing a
 * controller with the card electrically disconnected. Transcribed verbatim
 * from examples/aen/aen-evk-demo's overlay (its phase 8), the silicon-proven
 * host-side bring-up; read that file for the full derivation behind every
 * value here.
 *
 * Everything below is a SoM-INTERNAL fact (metadata/e1m_modules/aen/
 * inter-chip.tsv), not an E1M edge pad, which is why it lives in an app
 * overlay rather than in the board tree -- the board layer publishes only the
 * customer-facing edge peripherals.
 *
 *     net          Alif pad       dir   CC3501E pad
 *     ----------   ------------   ---   ---------------------
 *     WIFI_EN      P15_5          out   (supply gate)
 *     E_WIFI.NRST  P15_1_FLEX     out   (reset)
 *     SPI1.SCK     P14_6          out   GPIO_27 (CC35 SPI0 slave)
 *     SPI1.MOSI    P14_5          out   GPIO_28
 *     SPI1.MISO    P14_4          in    GPIO_29
 *     SPI1.SS0     P14_7          out   CC35 SPI0 CSN
 *
 * NOT wired: READY.  Alif P2_6 (E1M pad AH7 / I2S1_SCLK) is the EVK's Arduino
 * CK_RST net on this R2 module, not CC35 GPIO_17 -- see the P2_6 comment
 * further down and chips/cc3501e/cc3501e_core.c's cc3501e_reply_gate().
 *
 * WHAT THIS OVERLAY DELIBERATELY OMITS versus aen-cc3501e-bringup's: the
 * host-side peripheral-DMA wiring (dma0 / evtrtr0 / the `dmas` property, and
 * the itcm/dtcm `global_base` windows the PL330 needs to reach TCM buffers).
 * This app issues only short control frames -- PING, GET_VERSION, GET_MAC,
 * GET_CAPABILITIES, one scan, BLE_ENABLE, then the mux GPIO write -- every one
 * of them far below CONFIG_SPI_DW_ALIF_DMA_MIN_LEN, so the DMA path would
 * never be taken even if it were wired. The `dmas` cells are optional to the
 * driver (spi_dw_alif.c gates them behind DT_INST_DMAS_HAS_NAME), so omitting
 * them costs nothing here.
 */
#include <zephyr/dt-bindings/gpio/gpio.h>

&pinctrl {
	/*
	 * SPI1 master on P14_6 (SCK) / P14_5 (MOSI) / P14_4 (MISO), plus the
	 * hardware SS0 chip-select on P14_7. SS0 is the dwc-ssi peripheral's OWN
	 * select -- not a GPIO bodge, not CS-less, not static-low: the master
	 * asserts and deasserts it per transfer, and that is exactly what frames
	 * each phase of the bridge's request/reply exchange. Do NOT add cs-gpios
	 * here; that installs a software CS and breaks the framing the firmware
	 * side is built around.
	 *
	 * input-enable on MISO because on this SoC a pad's INPUT BUFFER is a
	 * PADCTRL bit that only pinctrl sets -- without it the pad never senses
	 * what the slave drives.
	 */
	pinctrl_spi1: pinctrl_spi1 {
		group0 {
			pinmux = <PIN_P14_6__SPI1_SCLK_C>, <PIN_P14_5__SPI1_MOSI_C>,
				 <PIN_P14_7__SPI1_SS0_C>;
		};
		group1 {
			pinmux = <PIN_P14_4__SPI1_MISO_C>;
			input-enable;
		};

	};
};

/* P2_6 (E1M AH7 / I2S1_SCLK) is NOT the CC3501E READY net on the R2 module this
 * bridge targets -- it is E1M pad AH7 / I2S1_SCLK, which the E1M EVK
 * carrier repurposes as the Arduino header's CK_RST (metadata/boards/
 * e1m-evk.yaml); the real READY net lands on E1M pad G3 / IO16 instead
 * (metadata/e1m_modules/aen/from-cc3501e.tsv). This app therefore does not
 * mux or input-enable P2_6, and does not wire fw->ready_pin -- see
 * src/cc3501e_bridge.c and chips/cc3501e/cc3501e_core.c's cc3501e_reply_gate()
 * comment. A board (or a hand-reworked r1 unit) that genuinely wires GPIO17
 * to P2_6 can opt back in: add a pinctrl group muxing PIN_P2_6__GPIO with
 * input-enable (applied inside this state's single init pass, not a
 * standalone runtime one -- a second pinctrl pass after SPI1 is up killed
 * the bridge on silicon), enable &gpio2, add an alp_pins entry for it, and
 * set fw->ready_pin in cc3501e_bridge_bringup(). */

/*
 * DWC_ssi SPI1 (AHB) -- the on-SoM CC3501E inter-chip link. Deliberately not
 * in ensemble_e8_peripherals.dtsi (which declares only the customer-facing
 * edge SPI0), so the consuming app declares it. reg 0x48104000 = the SPI1 base
 * (+0x1000 per instance from spi0's 0x48103000).
 *
 * BENCH-TBD on interrupts: <138 3> follows the consecutive pattern from spi0's
 * IRQ 137 -- it is INFERRED, not read out of a document. "Confirm" therefore
 * means: check SPI1_IRQ against the AE822 TRM (or the alifsemi/zephyr_alif
 * fork's e1.dtsi) before relying on the interrupt-driven path on silicon.
 *
 * clock-frequency is REQUIRED, not decorative: without it spi_dw_alif's
 * configure takes the clock-control path, which fails -EINVAL for the gateless
 * dummy ALIF_SPI_CLK, and every transceive then returns ALP_ERR_INVAL at zero
 * SCLK. 200 MHz is the real SSI functional clock (E8 HWRM); BAUDR =
 * clock-frequency / freq_hz, and cc3501e_bridge.h asks for 25 MHz = /8.
 *
 * rx-delay: NOT what clocks the link -- src/cc3501e_bridge.c pokes
 * 0x48104000+0xf0 with CC3501E_BRIDGE_RX_SAMPLE_DLY right after
 * alp_spi_open() returns, which overwrites whatever this property set. See
 * cc3501e_bridge.h and examples/aen/aen-evk-demo's overlay for the full
 * derivation (silicon-measured on E1M-AEN803 serial 2026W36-0002 at 25 MHz).
 */
&clockctrl {
	status = "okay";
};

&soc {
	cc3501e_spi: spi@48104000 {
		compatible = "alif,dwc-ssi-spi";
		#address-cells = <1>;
		#size-cells = <0>;
		reg = <0x48104000 0x1000>;
		interrupts = <138 3>;          /* BENCH-TBD: confirm SPI1 IRQ */
		clocks = <&clockctrl ALIF_SPI_CLK>;
		clock-frequency = <200000000>;
		dwc-ssi;
		fifo-depth = <16>;
		rx-delay = <2>;
		pinctrl-0 = <&pinctrl_spi1>;
		pinctrl-names = "default";
		status = "okay";
	};
};

/*
 * The LP-GPIO island carries WIFI_EN (P15_5) and E_WIFI.NRST (P15_1_FLEX). No
 * pinctrl group is needed for their mux: P15_x function 0 -- the reset default
 * -- already IS LPGPIO. Turning the pads' OUTPUT DRIVERS on is a separate
 * matter and not a devicetree fact at all; see the raw PADCTRL write in
 * src/cc3501e_bridge.c and the comment above it.
 */
&lpgpio {
	status = "okay";
};

/ {
	aliases {
		/* bus_id 1 in alp_spi_open() -> this controller. */
		alp-spi1 = &cc3501e_spi;
	};

	/*
	 * Compact 3-entry control array: the 2 SoM-internal CC3501E control
	 * nets, in the order cc3501e_bridge.h's CC3501E_BRIDGE_PIN_* indices
	 * expect, plus SD_RST (index [2], native Alif GPIO -- see SD_RST_PIN_ID
	 * in src/main.c). No READY entry -- see the P2_6 comment further up
	 * (this pad is not the CC3501E READY net). None of these are E1M edge
	 * pads, so this app does not use the 52-slot positional E1M map; a
	 * production board file appends SoM-internal control nets after the E1M
	 * pad slots.
	 *
	 * There must be exactly ONE "alp,pin-array" node in the tree. A second
	 * one broke pin resolution outright on the bench (2026-08-26): the
	 * bridge failed as if WIFI_EN were absent, which reads like a hardware
	 * fault and is not one.
	 */
	alp_pins: alp-pins {
		compatible = "alp,pin-array";
		gpios = <&lpgpio 5 GPIO_ACTIVE_HIGH>, /* [0] WIFI_EN     (P15_5)      */
			<&lpgpio 1 GPIO_ACTIVE_HIGH>, /* [1] E_WIFI.NRST (P15_1_FLEX) */
			<&gpio14 2 GPIO_ACTIVE_HIGH>; /* [2] SD_RST      (P14_2, native Alif GPIO, bit-banged) */
	};
};
```

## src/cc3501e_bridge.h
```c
/*
 * SPDX-License-Identifier: Apache-2.0
 * Copyright 2026 Alp Lab AB
 *
 * One-call bring-up of the E1M-AEN SoM's CC3501E Wi-Fi 6 / BLE coprocessor over the
 * inter-chip SPI bridge -- the SoM bring-up TEMPLATE for applications.
 *
 * The CC3501E is part of the SoM (module U4 = BDE-BW35N): the application does NOT
 * touch the raw SPI bus or the WIFI_EN / nRESET control pins.  It calls
 * cc3501e_bridge_bringup() once, gets a ready @ref cc3501e_t, and from there uses the
 * portable surfaces:
 *   - cc3501e_* (chips/cc3501e)            -- MAC / Wi-Fi / BLE / GPIO-proxy / OTA
 *   - alp_gpio_open(ALP_E1M_GPIO_IOxx)         -- proxied E1M IOs (when the proxy is built)
 *
 * To reuse in your own AEN application: copy this pair (cc3501e_bridge.{c,h}) into your
 * app, or call cc3501e_bridge_bringup() directly.  The bus / pins / clock are the
 * E1M-AEN SoM defaults below; a board variant overrides only those macros -- the SoM
 * stays swappable without touching application code.
 */

#ifndef CC3501E_BRIDGE_H
#define CC3501E_BRIDGE_H

#include <alp/peripheral.h>    /* alp_status_t */
#include <alp/chips/cc3501e.h> /* cc3501e_t */

/* ---- E1M-AEN SoM bridge defaults (override per board variant) ---------------- */

/* Inter-chip SPI: Alif = master, CC3501E = slave.  P14_7 is muxed as the
 * dwc-ssi hardware SS0 chip-select; ALP_SPI_NO_CS means "no software GPIO CS"
 * here, so the controller frames each protocol phase.  Mode 0 matches the
 * CC3501E vendor image frameFormat. */
#ifndef CC3501E_BRIDGE_SPI_BUS_ID
#define CC3501E_BRIDGE_SPI_BUS_ID 1u
#endif
#ifndef CC3501E_BRIDGE_SPI_FREQ_HZ
/* 25 MHz = 200 MHz SSI functional clock / 8.
 *
 * The CC3501E peripheral-mode maximum is 30 MHz, NOT the 15 MHz this comment
 * claimed for most of the bring-up: datasheet SWRS343A section 6.14.2.3.3,
 * `fsclk SPI clock frequency, Peripheral Mode, MAX 30 MHz` (Controller Mode is
 * 40 MHz).  Every earlier ceiling argument here was built on the wrong number.
 *
 * 25 MHz is the fastest LEGAL step available: the DW SSI BAUDR divisor must be
 * EVEN, so from 200 MHz the neighbours are /8 = 25 MHz and /6 = 33.3 MHz, and
 * 33.3 is 11% over the part's maximum.  Reaching exactly 30 MHz would require
 * retargeting the SSI functional clock itself (AE822 HWRM section 8.3.5) --
 * ALIF_SPI_CLK is a frequency-only dummy in the dtsi with no divider control,
 * so there is no software knob for it here.
 *
 * REQUIRES an RX sample delay: at a 40 ns bit period the MISO capture does not
 * land on its own.  That delay comes from CC3501E_BRIDGE_RX_SAMPLE_DLY below --
 * NOT from the SPI node's `rx-delay` property, which the poke in
 * cc3501e_bridge.c overwrites.  The measured working span is in that constant's
 * comment.
 *
 * It does not raise throughput -- silicon-measured
 * 2026-08-24: 682 kB/s at 25 MHz vs 678 kB/s at 14.29 MHz on PIO, 704 vs 701 on
 * DMA, because wire time is only ~554 us of a ~2459 us transaction and the rest
 * is per-frame protocol cost on both ends.  It is worth taking anyway: each
 * transfer occupies the bus for ~44% less time, which is CPU and bus budget
 * handed back to everything else on the SoM.
 *
 * The 14.29 MHz predecessor was scope-confirmed at 14.20-14.26 MHz, which is
 * what validates the 200 MHz functional-clock figure the divider assumes.  A
 * board with longer traces should re-check MISO capture before adopting 25 MHz.
 *
 * SEPARATE, PRE-EXISTING DEFECT (do not blame this clock for it): a bulk read
 * intermittently desyncs partway through -- roughly 1 run in 2-3, at anywhere
 * from 61 kB to 212 kB in -- and then never recovers for the caller's whole
 * retry budget.  It reproduces at 14.29 MHz TOO, so it is not a clock artifact.
 * Signature (host-side, request-header phase of CMD_SOCK_RECV 0x23): the
 * slave's in-band idle marker reads [02 00 00 00] once and then [00 00 00 00]
 * forever instead of A5 A5 A5 A5 -- i.e. the slave is stuck mid-reply on a
 * transfer it armed earlier and never completed.  With
 * SPI_TRANSFER_RETURN_PARTIAL deliberately off, a CS deassert does not complete
 * it, and NEITHER slave self-heal fires (g_resync_count does not move -- the
 * slave is not misframing; g_arm_fail_count does not move -- the arm succeeded).
 * Clocking a full idle frame from the host to satisfy the outstanding count was
 * tried and did NOT recover it.  The fix likely belongs on the slave: a
 * stall watchdog that calls bridge_transport_spi_hw_reinit() when an armed
 * transfer has not completed for N ms. */
#define CC3501E_BRIDGE_SPI_FREQ_HZ 25000000u
#endif

/* CC3501E control pins on the Alif LP-GPIO island (NOT E1M edge pads):
 * WIFI_EN = supply gate (P15_5), nRESET = reset (P15_1_FLEX). */
#ifndef CC3501E_BRIDGE_PIN_WIFI_EN
#define CC3501E_BRIDGE_PIN_WIFI_EN 0u
#endif
#ifndef CC3501E_BRIDGE_PIN_NRST
#define CC3501E_BRIDGE_PIN_NRST 1u
#endif
/* OPTIONAL host-IRQ/READY input (CC35 GPIO17 -> Alif P2_6, alp_pins[2]).  When
 * the board wires it, cc3501e_request() gates reply phases on it (HIGH = slave
 * armed) instead of a fixed delay.  Absent -> ready_pin NULL -> legacy gap. */
#ifndef CC3501E_BRIDGE_PIN_READY
#define CC3501E_BRIDGE_PIN_READY 2u
#endif

/* DW SSI SPI1 base (0x48104000) + RX_SAMPLE_DLY to run the bridge SCLK above
 * 1 MHz.  spi_dw_configure never writes RX_SAMPLE_DLY (0xf0), so without the
 * poke in cc3501e_bridge.c the master samples MISO at the SCLK edge, before the
 * on-SoM trace + crossed-data round-trip returns the CC35's bit, and anything
 * above 1 MHz mis-samples.  Setting it delays the capture by N ssi_clk
 * (200 MHz) cycles -- 5 ns per step.
 *
 * 4 is silicon-measured at the 25 MHz working point (40 ns bit period) on
 * E1M-AEN803 serial 2026W36-0002.  N was swept 0..10 with 0x481040F0 read back
 * each time to confirm the value took, using aen-evk-demo phase 8 as the
 * workload:
 *
 *   N = 0..7   PASS, 2-3 runs each: bring-up 0, PING on attempt 1 of 25,
 *              byte-exact MAC, scan 0, BLE 0.
 *   N = 8      FAIL, 3 runs of 3: bring-up still returns 0, but the link never
 *              answers -- PING -> -5 after all 25 attempts.
 *   N = 9      PASS, 2 runs of 2.
 *   N = 10     PASS, 3 runs of 3, but one run returned a MAC with a single bit
 *              flipped in byte 0.
 *
 * 4 is the centre of the measured-good 0..7 span: +4 steps (20 ns, half a bit
 * period) below the failure, and the low side is not a cliff at all since 0
 * itself is clean.  Do NOT read 8/9/10 as a monotone upper boundary -- 8
 * hard-fails while 9 and 10 pass, which this sweep did not explain.  Treat
 * everything above 7 as unqualified, not as graded margin.
 *
 * The "4..8 all clean cold+warm" window this comment used to claim was taken on
 * e1m-aen-evk-01 at ~14.3 MHz -- a different board at roughly half the clock,
 * so it is not comparable and is not evidence for 25 MHz on this one.
 *
 * 0 does NOT mean "no delay": it compiles the poke out, leaving whatever the
 * SPI node's `rx-delay` property put there (see cc3501e_bridge.c).  Re-sweep if
 * the SoM trace lengths or the SCLK change. */
#ifndef CC3501E_BRIDGE_SPI1_BASE
#define CC3501E_BRIDGE_SPI1_BASE 0x48104000u
#endif
#ifndef CC3501E_BRIDGE_RX_SAMPLE_DLY
#define CC3501E_BRIDGE_RX_SAMPLE_DLY 4u
#endif

/**
 * @brief Bring up the SoM's CC3501E coprocessor over the inter-chip bridge.
 *
 * Opens the hardware-SS0 bridge SPI + the WIFI_EN / nRESET control pins, binds
 * them to @p fw, attaches the GPIO proxy (when CONFIG_ALP_SDK_GPIO_CC3501E_PROXY is
 * built), and runs the power + reset sequence (TI SWRU626 + the Puya cold-boot
 * hard-reset workaround).  Blocks ~900 ms for the boot budget; leaves WIFI_EN HIGH.
 *
 * @param fw  Caller-owned handle, populated on success.  Use it with cc3501e_*.
 * @return ALP_OK with @p fw ready; ALP_ERR_NOT_PRESENT_ON_THIS_SOC if the SPI bus /
 *         control pins are absent (check the board overlay); otherwise the reset
 *         sequence status.  On any failure @p fw is left un-bound (do not use it).
 */
alp_status_t cc3501e_bridge_bringup(cc3501e_t *fw);

#endif /* CC3501E_BRIDGE_H */
```
